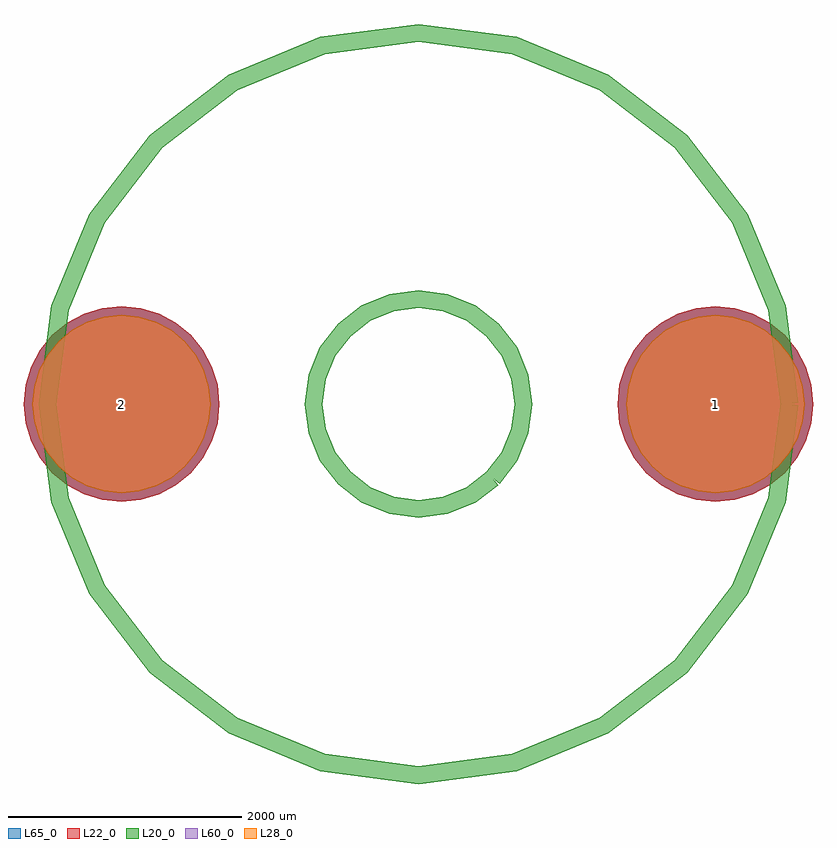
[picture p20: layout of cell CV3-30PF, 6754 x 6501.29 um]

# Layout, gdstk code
import gdstk
lib = gdstk.Library(unit=1e-6, precision=1e-09)
def P(c, l, *ps):  # polygons
    for p in ps: c.add(gdstk.Polygon(p, *l))
L20_0 = (20, 0)
L22_0 = (22, 0)
L28_0 = (28, 0)
L60_0 = (60, 0)
L65_0 = (65, 0)

cv3_30pf = lib.new_cell('CV3-30PF')
P(cv3_30pf, L22_0, [(-1703,0),(-1719.083,163.291),(-1766.713,320.306),(-1844.06,465.012),(-1948.152,591.848),(-2074.988,695.94),(-2219.694,773.287),(-2376.709,820.917),(-2540,837),(-2703.291,820.917),(-2860.306,773.287),(-3005.012,695.94),(-3131.848,591.848),(-3235.94,465.012),(-3313.287,320.306),(-3360.917,163.291),(-3377,0),(-3360.917,-163.291),(-3313.287,-320.306),(-3235.94,-465.012),(-3131.848,-591.848),(-3005.012,-695.94),(-2860.306,-773.287),(-2703.291,-820.917),(-2540,-837),(-2376.709,-820.917),(-2219.694,-773.287),(-2074.988,-695.94),(-1948.152,-591.848),(-1844.06,-465.012),(-1766.713,-320.306),(-1719.083,-163.291)],
  [(3377,0),(3360.917,163.291),(3313.287,320.306),(3235.94,465.012),(3131.848,591.848),(3005.012,695.94),(2860.306,773.287),(2703.291,820.917),(2540,837),(2376.709,820.917),(2219.694,773.287),(2074.988,695.94),(1948.152,591.848),(1844.06,465.012),(1766.713,320.306),(1719.083,163.291),(1703,0),(1719.083,-163.291),(1766.713,-320.306),(1844.06,-465.012),(1948.152,-591.848),(2074.988,-695.94),(2219.694,-773.287),(2376.709,-820.917),(2540,-837),(2703.291,-820.917),(2860.306,-773.287),(3005.012,-695.94),(3131.848,-591.848),(3235.94,-465.012),(3313.287,-320.306),(3360.917,-163.291)])
P(cv3_30pf, L28_0, [(-1778,0),(-1792.642,148.659),(-1836.004,291.605),(-1906.42,423.345),(-2001.185,538.815),(-2116.655,633.58),(-2248.395,703.996),(-2391.341,747.358),(-2540,762),(-2688.659,747.358),(-2831.605,703.996),(-2963.345,633.58),(-3078.815,538.815),(-3173.58,423.345),(-3243.996,291.605),(-3287.358,148.659),(-3302,0),(-3287.358,-148.659),(-3243.996,-291.605),(-3173.58,-423.345),(-3078.815,-538.815),(-2963.345,-633.58),(-2831.605,-703.996),(-2688.659,-747.358),(-2540,-762),(-2391.341,-747.358),(-2248.395,-703.996),(-2116.655,-633.58),(-2001.185,-538.815),(-1906.42,-423.345),(-1836.004,-291.605),(-1792.642,-148.659)],
  [(3302,0),(3287.358,148.659),(3243.996,291.605),(3173.58,423.345),(3078.815,538.815),(2963.345,633.58),(2831.605,703.996),(2688.659,747.358),(2540,762),(2391.341,747.358),(2248.395,703.996),(2116.655,633.58),(2001.185,538.815),(1906.42,423.345),(1836.004,291.605),(1792.642,148.659),(1778,0),(1792.642,-148.659),(1836.004,-291.605),(1906.42,-423.345),(2001.185,-538.815),(2116.655,-633.58),(2248.395,-703.996),(2391.341,-747.358),(2540,-762),(2688.659,-747.358),(2831.605,-703.996),(2963.345,-633.58),(3078.815,-538.815),(3173.58,-423.345),(3243.996,-291.605),(3287.358,-148.659)])
P(cv3_30pf, L60_0, [(-1778,0),(-1792.642,148.659),(-1836.004,291.605),(-1906.42,423.345),(-2001.185,538.815),(-2116.655,633.58),(-2248.395,703.996),(-2391.341,747.358),(-2540,762),(-2688.659,747.358),(-2831.605,703.996),(-2963.345,633.58),(-3078.815,538.815),(-3173.58,423.345),(-3243.996,291.605),(-3287.358,148.659),(-3302,0),(-3287.358,-148.659),(-3243.996,-291.605),(-3173.58,-423.345),(-3078.815,-538.815),(-2963.345,-633.58),(-2831.605,-703.996),(-2688.659,-747.358),(-2540,-762),(-2391.341,-747.358),(-2248.395,-703.996),(-2116.655,-633.58),(-2001.185,-538.815),(-1906.42,-423.345),(-1836.004,-291.605),(-1792.642,-148.659)],
  [(3302,0),(3287.358,148.659),(3243.996,291.605),(3173.58,423.345),(3078.815,538.815),(2963.345,633.58),(2831.605,703.996),(2688.659,747.358),(2540,762),(2391.341,747.358),(2248.395,703.996),(2116.655,633.58),(2001.185,538.815),(1906.42,423.345),(1836.004,291.605),(1792.642,148.659),(1778,0),(1792.642,-148.659),(1836.004,-291.605),(1906.42,-423.345),(2001.185,-538.815),(2116.655,-633.58),(2248.395,-703.996),(2391.341,-747.358),(2540,-762),(2688.659,-747.358),(2831.605,-703.996),(2963.345,-633.58),(3078.815,-538.815),(3173.58,-423.345),(3243.996,-291.605),(3287.358,-148.659)])
P(cv3_30pf, L65_0, [(-1703,0),(-1719.083,163.291),(-1766.713,320.306),(-1844.06,465.012),(-1948.152,591.848),(-2074.988,695.94),(-2219.694,773.287),(-2376.709,820.917),(-2540,837),(-2703.291,820.917),(-2860.306,773.287),(-3005.012,695.94),(-3131.848,591.848),(-3235.94,465.012),(-3313.287,320.306),(-3360.917,163.291),(-3377,0),(-3360.917,-163.291),(-3313.287,-320.306),(-3235.94,-465.012),(-3131.848,-591.848),(-3005.012,-695.94),(-2860.306,-773.287),(-2703.291,-820.917),(-2540,-837),(-2376.709,-820.917),(-2219.694,-773.287),(-2074.988,-695.94),(-1948.152,-591.848),(-1844.06,-465.012),(-1766.713,-320.306),(-1719.083,-163.291)],
  [(3377,0),(3360.917,163.291),(3313.287,320.306),(3235.94,465.012),(3131.848,591.848),(3005.012,695.94),(2860.306,773.287),(2703.291,820.917),(2540,837),(2376.709,820.917),(2219.694,773.287),(2074.988,695.94),(1948.152,591.848),(1844.06,465.012),(1766.713,320.306),(1719.083,163.291),(1703,0),(1719.083,-163.291),(1766.713,-320.306),(1844.06,-465.012),(1948.152,-591.848),(2074.988,-695.94),(2219.694,-773.287),(2376.709,-820.917),(2540,-837),(2703.291,-820.917),(2860.306,-773.287),(3005.012,-695.94),(3131.848,-591.848),(3235.94,-465.012),(3313.287,-320.306),(3360.917,-163.291)])
cv3_30pf.add(gdstk.FlexPath([(635,-635),(777.713,-449.013),(867.426,-232.426),(898.026,0),(867.426,232.426),(777.713,449.013),(635,635),(449.013,777.713),(232.426,867.426),(0,898.026),(-232.426,867.426),(-449.013,777.713),(-635,635),(-777.713,449.013),(-867.426,232.426),(-898.026,0),(-867.426,-232.426),(-777.713,-449.013),(-635,-635),(-449.013,-777.713),(-232.426,-867.426),(0,-898.026),(232.426,-867.426),(449.013,-777.713),(635,-635)], 149.998, ends="flush", simple_path=True, layer=20, datatype=0))  # L20_0
cv3_30pf.add(gdstk.FlexPath([(3175,0),(3066.814,821.75),(2749.631,1587.5),(2245.064,2245.064),(1587.5,2749.631),(821.75,3066.814),(0,3175),(-821.75,3066.814),(-1587.5,2749.631),(-2245.064,2245.064),(-2749.631,1587.5),(-3066.814,821.75),(-3175,0),(-3066.814,-821.75),(-2749.631,-1587.5),(-2245.064,-2245.064),(-1587.5,-2749.631),(-821.75,-3066.814),(0,-3175),(821.75,-3066.814),(1587.5,-2749.631),(2245.064,-2245.064),(2749.631,-1587.5),(3066.814,-821.75),(3175,0)], 149.998, ends="flush", simple_path=True, layer=20, datatype=0))  # L20_0
cv3_30pf.add(gdstk.Label('2', (-2540,0), layer=28, texttype=0))
cv3_30pf.add(gdstk.Label('1', (2540,0), layer=28, texttype=0))
cv3_30pf.add(gdstk.Label('type', (0,-4445), layer=9, texttype=0))
cv3_30pf.add(gdstk.Label('devicename', (0,-4445), layer=9, texttype=0))

lib.write_gds('CV3-30PF.gds')
